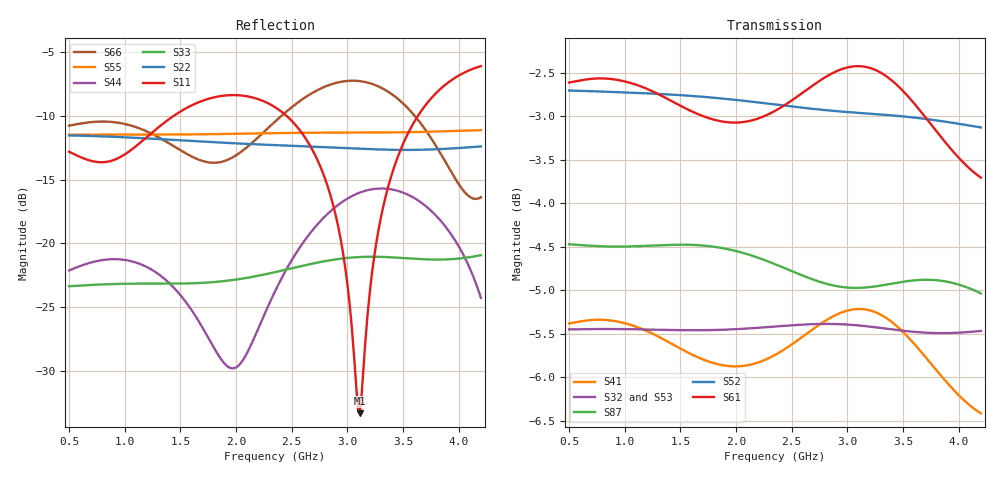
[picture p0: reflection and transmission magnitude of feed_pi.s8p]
! Created with skrf 2.1.0 (http://scikit-rf.org).
# Hz S RI R 50.0
!freq ReS11 ImS11 ReS12 ImS12 ReS13 ImS13
! ReS14 ImS14 ReS15 ImS15 ReS16 ImS16 ReS17 ImS17
! ReS18 ImS18
! ReS21 ImS21 ReS22 ImS22 ReS23 ImS23
! ReS24 ImS24 ReS25 ImS25 ReS26 ImS26 ReS27 ImS27
! ReS28 ImS28
! ReS31 ImS31 ReS32 ImS32 ReS33 ImS33
! ReS34 ImS34 ReS35 ImS35 ReS36 ImS36 ReS37 ImS37
! ReS38 ImS38
! ReS41 ImS41 ReS42 ImS42 ReS43 ImS43
! ReS44 ImS44 ReS45 ImS45 ReS46 ImS46 ReS47 ImS47
! ReS48 ImS48
! ReS51 ImS51 ReS52 ImS52 ReS53 ImS53
! ReS54 ImS54 ReS55 ImS55 ReS56 ImS56 ReS57 ImS57
! ReS58 ImS58
! ReS61 ImS61 ReS62 ImS62 ReS63 ImS63
! ReS64 ImS64 ReS65 ImS65 ReS66 ImS66 ReS67 ImS67
! ReS68 ImS68
! ReS71 ImS71 ReS72 ImS72 ReS73 ImS73
! ReS74 ImS74 ReS75 ImS75 ReS76 ImS76 ReS77 ImS77
! ReS78 ImS78
! ReS81 ImS81 ReS82 ImS82 ReS83 ImS83
! ReS84 ImS84 ReS85 ImS85 ReS86 ImS86 ReS87 ImS87
! ReS88 ImS88
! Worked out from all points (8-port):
!   371 points, 500 MHz to 4.2 GHz, reference 50 ohm
!   strongest paths, dB at 500 MHz, 1.42 GHz, 2.35 GHz, 3.28 GHz, 4.2 GHz:
!     S61: -2.6, -2.8, -2.9, -2.5, -3.7
!     S52: -2.7, -2.8, -2.9, -3.0, -3.1
!     S87: -4.5, -4.5, -4.7, -5.0, -5.0
!     S32: -5.5, -5.5, -5.4, -5.4, -5.5
!     S41: -5.4, -5.6, -5.7, -5.3, -6.4
!     S53: -5.5, -5.5, -5.6, -5.7, -5.8
!   lowest |S11| = -33.3 dB at 3.11 GHz (marker M1), VSWR 1.04, Z = 48.2 - j1.09 ohm
!   |S11| at or under -10 dB: start of sweep to 1.438 GHz; 2.455 GHz to 3.634 GHz (1.179 GHz wide, 38.7 % of centre)
